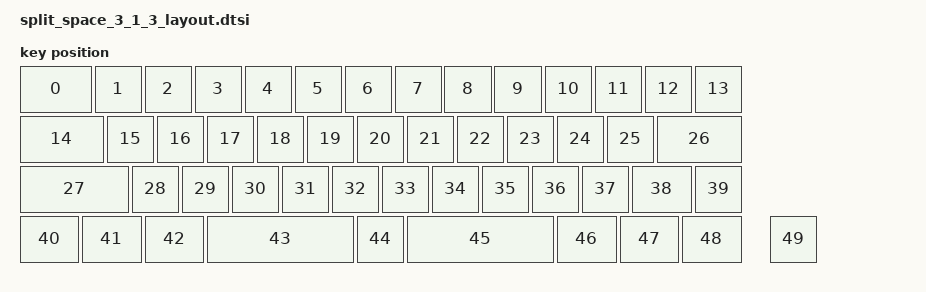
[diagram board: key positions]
#include <physical_layouts.dtsi>

#include "position_map.dtsi"

/ {
    split_space_3_1_3_layout: split_space_3_1_3_layout {
        compatible = "zmk,physical-layout";
        display-name = "split space (3U+1U+3U)";

        keys  //                 w   h    x    y      rot    rx    ry
        = <&key_physical_attrs 150 100    0    0      0     0     0> // TAB
        , <&key_physical_attrs 100 100  150    0      0     0     0> // Q
        , <&key_physical_attrs 100 100  250    0      0     0     0> // W
        , <&key_physical_attrs 100 100  350    0      0     0     0> // E
        , <&key_physical_attrs 100 100  450    0      0     0     0> // R
        , <&key_physical_attrs 100 100  550    0      0     0     0> // T
        , <&key_physical_attrs 100 100  650    0      0     0     0> // Y
        , <&key_physical_attrs 100 100  750    0      0     0     0> // U
        , <&key_physical_attrs 100 100  850    0      0     0     0> // I
        , <&key_physical_attrs 100 100  950    0      0     0     0> // O
        , <&key_physical_attrs 100 100  1050   0      0     0     0> // P
        , <&key_physical_attrs 100 100  1150   0      0     0     0> // [
        , <&key_physical_attrs 100 100  1250   0      0     0     0> // ]
        , <&key_physical_attrs 100 100  1350   0      0     0     0> // BACKSLASH
        , <&key_physical_attrs 175 100  0      100    0     0     0> // CAPS
        , <&key_physical_attrs 100 100  175    100    0     0     0> // A
        , <&key_physical_attrs 100 100  275    100    0     0     0> // S
        , <&key_physical_attrs 100 100  375    100    0     0     0> // D
        , <&key_physical_attrs 100 100  475    100    0     0     0> // F
        , <&key_physical_attrs 100 100  575    100    0     0     0> // G
        , <&key_physical_attrs 100 100  675    100    0     0     0> // H
        , <&key_physical_attrs 100 100  775    100    0     0     0> // J
        , <&key_physical_attrs 100 100  875    100    0     0     0> // K
        , <&key_physical_attrs 100 100  975    100    0     0     0> // L
        , <&key_physical_attrs 100 100  1075   100    0     0     0> // ;
        , <&key_physical_attrs 100 100  1175   100    0     0     0> // '
        , <&key_physical_attrs 175 100  1275   100    0     0     0> // ENTER
        , <&key_physical_attrs 225 100  0      200    0     0     0> // SHIFT
        , <&key_physical_attrs 100 100  225    200    0     0     0> // Z
        , <&key_physical_attrs 100 100  325    200    0     0     0> // X
        , <&key_physical_attrs 100 100  425    200    0     0     0> // C
        , <&key_physical_attrs 100 100  525    200    0     0     0> // V
        , <&key_physical_attrs 100 100  625    200    0     0     0> // B
        , <&key_physical_attrs 100 100  725    200    0     0     0> // N
        , <&key_physical_attrs 100 100  825    200    0     0     0> // M
        , <&key_physical_attrs 100 100  925    200    0     0     0> // ,
        , <&key_physical_attrs 100 100  1025   200    0     0     0> // .
        , <&key_physical_attrs 100 100  1125   200    0     0     0> // /
        , <&key_physical_attrs 125 100  1225   200    0     0     0> // SHIFT
        , <&key_physical_attrs 100 100  1350   200    0     0     0> // FN
        , <&key_physical_attrs 125 100  0      300    0     0     0> // CTRL
        , <&key_physical_attrs 125 100  125    300    0     0     0> // WIN
        , <&key_physical_attrs 125 100  250    300    0     0     0> // ALT
        , <&key_physical_attrs 300 100  375    300    0     0     0> // SPACE
        , <&key_physical_attrs 100 100  675    300    0     0     0> // FN
        , <&key_physical_attrs 300 100  775    300    0     0     0> // BACKSPACE
        , <&key_physical_attrs 125 100  1075   300    0     0     0> // ALT
        , <&key_physical_attrs 125 100  1200   300    0     0     0> // WIN
        , <&key_physical_attrs 125 100  1325   300    0     0     0> // MENU
        , <&key_physical_attrs 100 100  1500   300    0     0     0> // ENC 50
    ;
    };  
};

&layouts_soroka_position_map{
        split_space_3_1_3 {
                physical-layout = <&split_space_3_1_3_layout>;
                positions
                = < 0  1  2  3  4  5  6  7  8  9  10 11 12 13>
                , <14 15 16 17 18 19 20 21 22 23 24 25 26>
                , <27 28 29 30 31 32 33 34 35 36 37 38 39>
                , <40 41 42 43   44  45   46 47 48 49    50>;
        };
};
